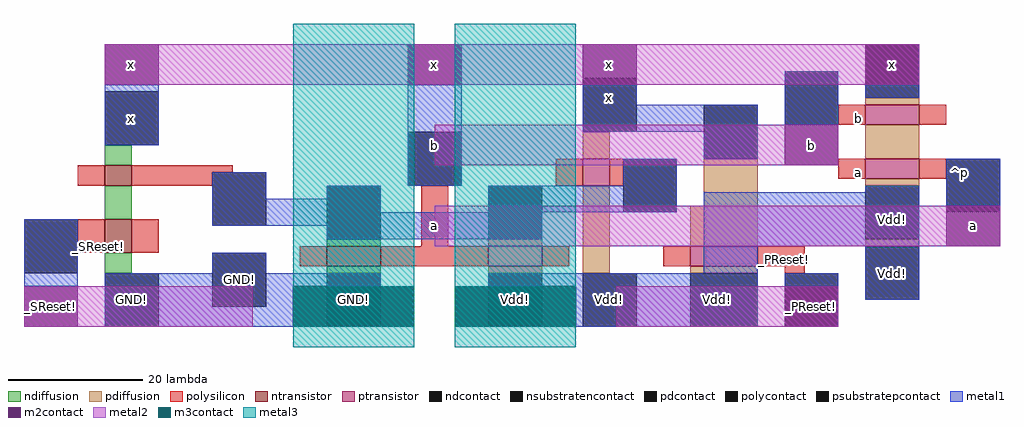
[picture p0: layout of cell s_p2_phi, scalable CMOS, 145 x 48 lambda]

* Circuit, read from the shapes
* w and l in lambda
.subckt s_p2_phi GND! Vdd! _PReset! _SReset! a b x
M1 n1 _SReset! GND! GND! nfet w=4 l=5
M2 x n2 n1 GND! nfet w=4 l=3
M3 n2 x GND! GND! nfet w=8 l=3
M4 n2 x Vdd! Vdd! pfet w=8 l=3
M5 x n2 Vdd! Vdd! pfet w=4 l=4
M6 x _PReset! Vdd! Vdd! pfet w=10 l=3
M7 n3 a Vdd! Vdd! pfet w=8 l=3
M8 x b n3 Vdd! pfet w=8 l=3
.ends

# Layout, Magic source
magic
tech scmos
<< ndiffusion >>
rect -49 75 -45 78
rect -49 67 -45 72
rect -16 63 -8 64
rect -49 59 -45 62
rect -16 59 -8 60
<< pdiffusion >>
rect 22 76 26 80
rect 64 84 72 85
rect 64 76 72 81
rect 8 63 16 64
rect 8 59 16 60
rect 22 59 26 72
rect 40 69 48 76
rect 38 63 48 69
rect 64 72 72 73
rect 64 63 72 64
rect 38 59 48 60
<< ntransistor >>
rect -49 72 -45 75
rect -49 62 -45 67
rect -16 60 -8 63
<< ptransistor >>
rect 64 81 72 84
rect 22 72 26 76
rect 8 60 16 63
rect 64 73 72 76
rect 38 60 48 63
<< polysilicon >>
rect -53 72 -49 75
rect -45 74 -30 75
rect -45 72 -33 74
rect -53 62 -49 67
rect -45 62 -41 67
rect 60 81 64 84
rect 72 81 76 84
rect 18 72 22 76
rect 26 72 28 76
rect -2 63 2 72
rect -20 60 -16 63
rect -8 60 8 63
rect 16 60 20 63
rect 60 73 64 76
rect 72 73 76 76
rect 34 60 38 63
rect 48 60 55 63
rect 52 59 55 60
<< ndcontact >>
rect -49 78 -41 86
rect -16 64 -8 72
rect -49 51 -41 59
rect -16 51 -8 59
<< pdcontact >>
rect 22 80 30 88
rect 40 76 48 84
rect 64 85 72 93
rect 8 64 16 72
rect 8 51 16 59
rect 64 64 72 72
rect 22 51 30 59
rect 38 51 48 59
<< psubstratepcontact >>
rect -33 54 -25 62
<< nsubstratencontact >>
rect 64 55 72 63
<< polycontact >>
rect -61 59 -53 67
rect -33 66 -25 74
rect -4 72 4 80
rect 52 81 60 89
rect 28 68 36 76
rect 76 68 84 76
rect 52 51 60 59
<< metal1 >>
rect -49 78 -41 87
rect -33 70 -25 74
rect -4 72 4 87
rect 22 84 30 87
rect 22 80 48 84
rect 40 76 48 80
rect 52 81 60 89
rect 64 85 72 87
rect 28 72 36 76
rect -16 70 -8 72
rect -33 68 -8 70
rect 8 68 36 72
rect 64 71 72 72
rect -61 57 -53 67
rect -33 66 16 68
rect -16 64 16 66
rect 40 63 72 71
rect 76 69 84 76
rect -33 59 -25 62
rect 40 59 48 63
rect -49 57 -8 59
rect 8 57 48 59
rect -49 51 -21 57
rect 21 51 48 57
rect 52 57 60 59
rect 64 55 72 63
<< m2contact >>
rect -49 87 -41 93
rect -4 87 4 93
rect 22 87 30 93
rect 64 87 72 93
rect 52 75 60 81
rect 76 63 84 69
rect -61 51 -53 57
rect -21 51 -3 57
rect 3 51 21 57
rect 52 51 60 57
<< metal2 >>
rect -49 87 72 93
rect 0 75 60 81
rect 0 63 84 69
rect -61 51 -27 57
rect 27 51 60 57
<< m3contact >>
rect -21 51 -3 57
rect 3 51 21 57
<< metal3 >>
rect -21 48 -3 96
rect 3 48 21 96
<< labels >>
rlabel ndcontact -12 55 -12 55 1 GND!
rlabel pdcontact 12 55 12 55 1 Vdd!
rlabel metal1 26 55 26 55 1 Vdd!
rlabel polysilicon -50 63 -50 63 1 _SReset!
rlabel metal1 -45 82 -45 82 1 x
rlabel metal1 -45 55 -45 55 1 GND!
rlabel metal1 -29 58 -29 58 1 GND!
rlabel metal2 -57 54 -57 54 3 _SReset!
rlabel metal2 0 63 0 69 3 a
rlabel metal1 26 85 26 85 1 x
rlabel metal2 0 87 0 93 5 x
rlabel metal2 0 75 0 81 3 b
rlabel metal1 68 59 68 59 1 Vdd!
rlabel polysilicon 63 74 63 74 3 a
rlabel polysilicon 63 82 63 82 3 b
rlabel metal1 68 67 68 67 1 Vdd!
rlabel polysilicon 52 61 52 61 7 _PReset!
rlabel metal2 56 54 56 54 1 _PReset!
rlabel metal1 42 55 42 55 8 Vdd!
rlabel space 71 54 85 94 3 ^p
rlabel metal2 56 78 56 78 1 b
rlabel metal2 80 66 80 66 7 a
rlabel metal2 -45 90 -45 90 1 x
rlabel metal2 26 90 26 90 1 x
rlabel metal2 68 90 68 90 1 x
<< end >>
